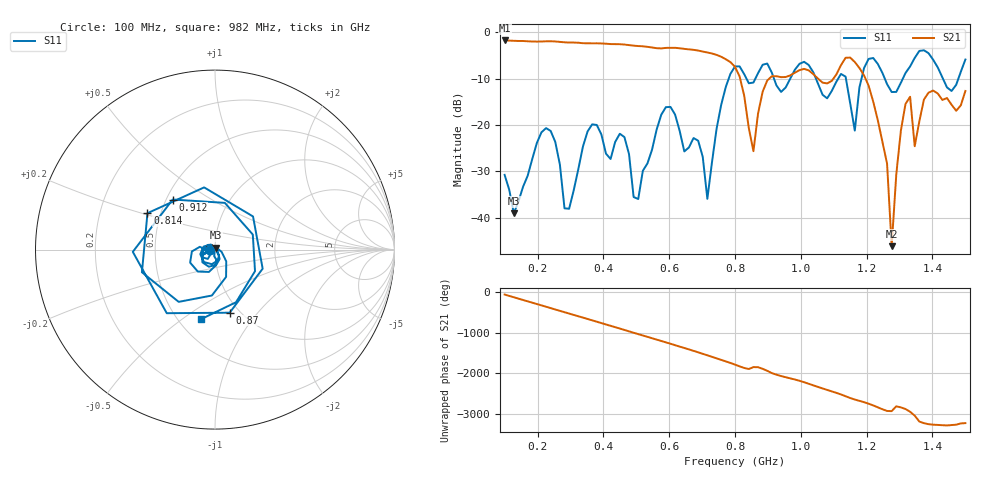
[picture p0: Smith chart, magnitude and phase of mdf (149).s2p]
! NanoVNA-App
! Date: 2025-09-25 15:39:35
! Start: 100MHz Stop: 1,5GHz Points: 101
! S-Parameter data: F S11 S21 S12 S22
# Hz S RI R 50
!  Frequency  S11_Real  S11_Imag  S21_Real  S21_Imag  S12_Real  S12_Imag  S22_Real  S22_Imag
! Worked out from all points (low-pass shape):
!   101 points, 100 MHz to 1.5 GHz, reference 50 ohm
!   highest |S21| = -1.80 dB at 100 MHz (marker M1); lowest = -46.1 dB at 1.276 GHz (marker M2)
!   |S21| within 3 dB of the highest: start of sweep to 739.1 MHz
!   lowest |S11| = -39.0 dB at 128 MHz (marker M3), VSWR 1.02, Z = 50.3 + j1.07 ohm
!   |S11| at or under -10 dB: start of sweep to 781.1 MHz; 918.4 MHz to 968.1 MHz (49.72 MHz wide, 5.27 % of centre); 1.046 GHz to 1.114 GHz (68.02 MHz wide, 6.3 % of centre) (the widest 3 of 7)
!   S12 and S22 are empty: the file has one direction only
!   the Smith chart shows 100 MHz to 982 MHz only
!   S11 on the Smith chart (normalised r, x): 100 MHz: 0.94, -0.01; 814 MHz: 0.42, +0.21; 870 MHz: 0.90, -0.73; 912 MHz: 0.54, +0.35; 982 MHz: 0.65, -0.59
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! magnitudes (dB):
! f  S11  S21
! 100 MHz  -30.8  -1.8
! 128 MHz  -39.0  -1.9
! 212 MHz  -21.6  -2.0
! 282 MHz  -38.0  -2.2
! 338 MHz  -24.7  -2.4
! 464 MHz  -22.6  -2.7
! 506 MHz  -36.0  -3.0
! 576 MHz  -17.8  -3.5
! 716 MHz  -35.9  -4.4
! 800 MHz  -7.4  -7.5
! 814 MHz  -7.4  -9.6
! 856 MHz  -10.9  -25.7
! 870 MHz  -8.9  -17.6
! 912 MHz  -8.7  -9.5
! 982 MHz  -8.1  -8.7
! 1.038 GHz  -8.7  -9.1
! 1.164 GHz  -21.2  -6.5
! 1.192 GHz  -7.8  -9.3
! 1.262 GHz  -11.2  -28.3
! 1.276 GHz  -12.9  -46.1
! 1.318 GHz  -8.8  -15.5
! 1.5 GHz  -5.9  -12.7
